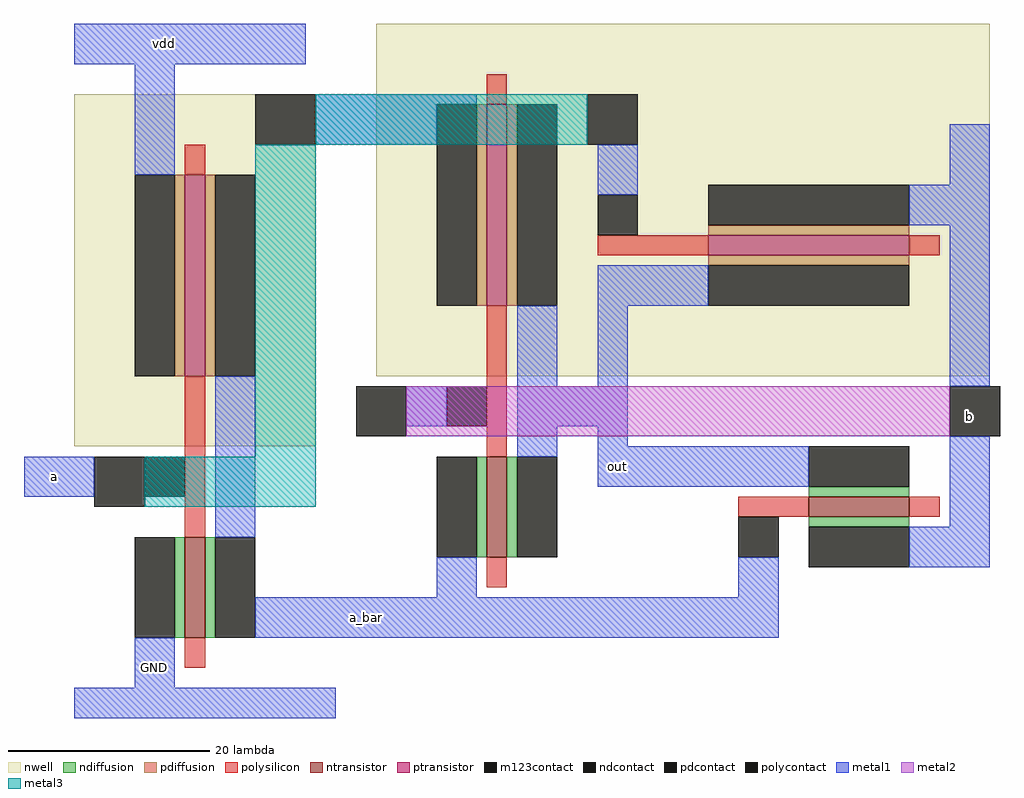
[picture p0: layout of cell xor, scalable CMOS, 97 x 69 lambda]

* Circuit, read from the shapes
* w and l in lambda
.subckt xor GND a a_bar b out vdd
M1 a_bar a GND VSUBS nfet w=10 l=2
M2 out b a_bar VSUBS nfet w=10 l=2
M3 out a_bar b VSUBS nfet w=10 l=2
M4 a_bar a vdd n1 pfet w=20 l=2
M5 out b a n2 pfet w=20 l=2
M6 b a out n2 pfet w=20 l=2
.ends

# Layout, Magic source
magic
tech scmos
<< nwell >>
rect 93 -6 117 29
rect 123 1 184 36
<< ntransistor >>
rect 104 -25 106 -15
rect 134 -17 136 -7
rect 166 -13 176 -11
<< ptransistor >>
rect 104 1 106 21
rect 134 8 136 28
rect 156 13 176 15
<< ndiffusion >>
rect 103 -25 104 -15
rect 106 -25 107 -15
rect 133 -17 134 -7
rect 136 -17 137 -7
rect 166 -11 176 -10
rect 166 -14 176 -13
<< pdiffusion >>
rect 103 1 104 21
rect 106 1 107 21
rect 133 8 134 28
rect 136 8 137 28
rect 156 15 176 16
rect 156 12 176 13
<< ndcontact >>
rect 99 -25 103 -15
rect 107 -25 111 -15
rect 129 -17 133 -7
rect 137 -17 141 -7
rect 166 -10 176 -6
rect 166 -18 176 -14
<< pdcontact >>
rect 99 1 103 21
rect 107 1 111 21
rect 129 8 133 28
rect 137 8 141 28
rect 156 16 176 20
rect 156 8 176 12
<< polysilicon >>
rect 134 28 136 31
rect 104 21 106 24
rect 145 13 156 15
rect 176 13 179 15
rect 104 -15 106 1
rect 134 -7 136 8
rect 159 -13 166 -11
rect 176 -13 179 -11
rect 134 -20 136 -17
rect 104 -28 106 -25
<< polycontact >>
rect 145 15 149 19
rect 100 -11 104 -7
rect 130 -4 134 0
rect 159 -17 163 -13
<< metal1 >>
rect 93 32 116 36
rect 99 21 103 32
rect 117 28 133 29
rect 117 24 129 28
rect 145 19 149 24
rect 180 20 184 26
rect 176 16 184 20
rect 88 -11 95 -7
rect 107 -15 111 1
rect 137 0 141 8
rect 145 8 156 12
rect 145 0 148 8
rect 126 -4 130 0
rect 137 -4 148 0
rect 137 -7 141 -4
rect 145 -6 148 -4
rect 180 0 184 16
rect 145 -10 166 -6
rect 180 -14 184 -5
rect 129 -21 133 -17
rect 159 -21 163 -17
rect 176 -18 184 -14
rect 111 -25 163 -21
rect 99 -30 103 -25
rect 93 -33 119 -30
<< metal2 >>
rect 126 -5 180 0
<< m123contact >>
rect 111 24 117 29
rect 144 24 149 29
rect 121 -5 126 0
rect 180 -5 185 0
rect 95 -12 100 -7
<< metal3 >>
rect 117 24 144 29
rect 111 -7 117 24
rect 100 -12 117 -7
<< labels >>
rlabel metal1 91 -9 91 -9 3 a
rlabel metal1 102 34 102 34 5 vdd
rlabel metal1 122 -23 122 -23 1 a_bar
rlabel metal1 101 -28 101 -28 1 GND
rlabel metal1 147 -8 147 -8 1 out
rlabel m123contact 182 -3 182 -3 7 b
<< end >>
